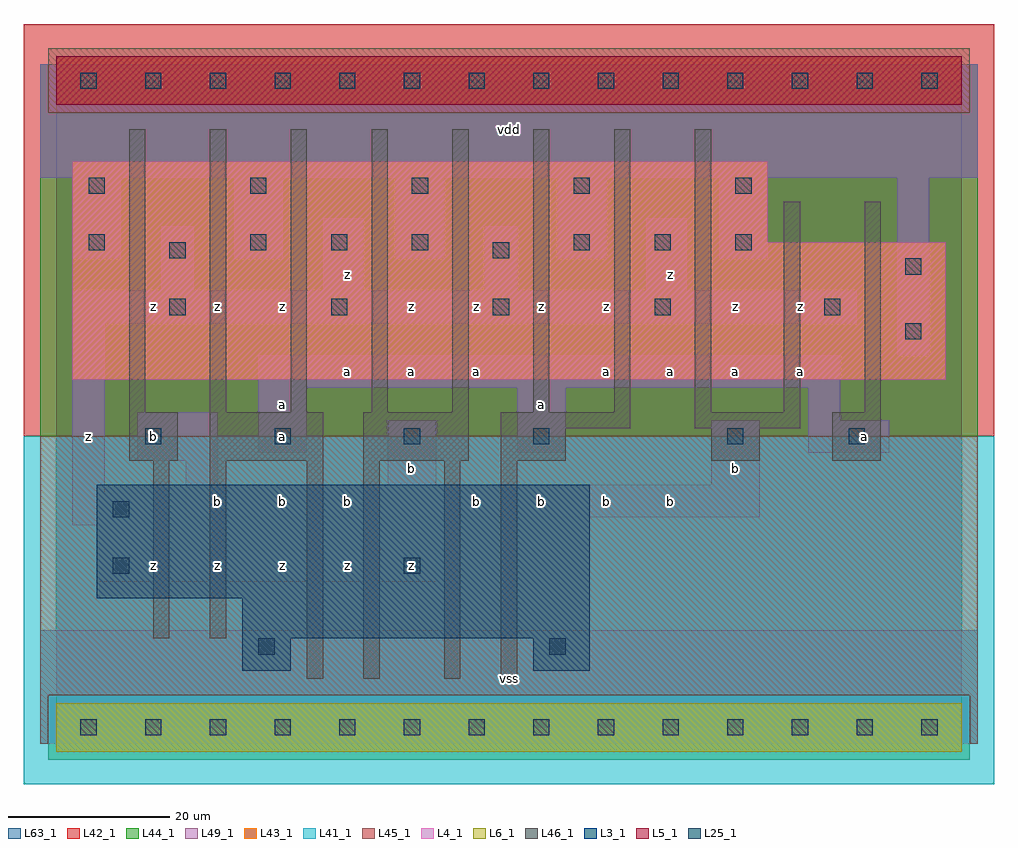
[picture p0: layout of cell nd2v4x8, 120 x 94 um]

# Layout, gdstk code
import gdstk
lib = gdstk.Library(unit=1e-6, precision=1e-09)
def R(c, l, rs):  # rectangles x0, y0, x1, y1
    for r in rs: c.add(gdstk.rectangle(r[:2], r[2:], *l))
def A(c, l, x, y, w, h, nx, ny, dx, dy):  # array of equal rectangles
    R(c, l, [(x+i*dx, y+j*dy, x+i*dx+w, y+j*dy+h) for i in range(nx) for j in range(ny)])
L3_1 = (3, 1)
L4_1 = (4, 1)
L5_1 = (5, 1)
L6_1 = (6, 1)
L25_1 = (25, 1)
L41_1 = (41, 1)
L42_1 = (42, 1)
L43_1 = (43, 1)
L44_1 = (44, 1)
L45_1 = (45, 1)
L46_1 = (46, 1)
L49_1 = (49, 1)
L63_1 = (63, 1)

nd2v4x8 = lib.new_cell('nd2v4x8')
R(nd2v4x8, L3_1, [(23,7,29,11), (59,7,66,11), (23,11,66,16), (5,16,66,30)])
R(nd2v4x8, L4_1, [(2,43,110,60), (2,60,88,70)])
R(nd2v4x8, L5_1, [(0,77,112,83)])
R(nd2v4x8, L6_1, [(0,-3,112,3), (0,-3,112,3)])
A(nd2v4x8, L25_1, 3, -1, 2, 2, 14, 2, 8, 80)
A(nd2v4x8, L25_1, 11, 35, 2, 2, 4, 1, 16, 0)
A(nd2v4x8, L25_1, 14, 51, 2, 2, 4, 1, 20, 0)
A(nd2v4x8, L25_1, 24, 59, 2, 2, 3, 1, 10, 0)
A(nd2v4x8, L25_1, 64, 59, 2, 2, 3, 1, 10, 0)
A(nd2v4x8, L25_1, 4, 66, 2, 2, 5, 1, 20, 0)
R(nd2v4x8, L25_1, [(25,9,27,11), (61,9,63,11), (7,19,9,21), (43,19,45,21), (7,26,9,28), (83,35,85,37), (98,35,100,37), (105,48,107,50), (95,51,97,53), (105,56,107,58), (14,58,16,60), (54,58,56,60), (4,59,6,61)])
R(nd2v4x8, L41_1, [(-4,-7,116,36)])
R(nd2v4x8, L42_1, [(-4,36,116,87)])
R(nd2v4x8, L43_1, [(0,-3,112,3), (23,7,29,11), (59,7,66,11), (23,11,66,16), (5,16,66,30), (2,43,110,60), (2,60,88,70), (0,77,112,83)])
R(nd2v4x8, L44_1, [(-1,-4,113,4), (-2,36,114,76), (-2,76,-1,82), (113,76,114,82)])
R(nd2v4x8, L45_1, [(-2,-2,-1,4), (113,-2,114,4), (-2,4,114,36), (-1,76,113,84)])
A(nd2v4x8, L46_1, 9, 39, 2, 35, 8, 1, 10, 0)
R(nd2v4x8, L46_1, [(31,6,33,33), (38,6,40,33), (48,6,50,33), (55,6,57,33), (12,11,14,33), (19,11,21,33), (9,33,15,39), (19,33,33,39), (38,33,51,39), (55,33,63,37), (81,33,87,37), (96,33,102,39), (55,37,71,39), (79,37,92,39), (90,39,92,65), (100,39,102,65)])
A(nd2v4x8, L49_1, 2, 58, 6, 10, 5, 1, 20, 0)
R(nd2v4x8, L49_1, [(-2,-2,114,12), (5,18,47,22), (5,22,11,25), (2,25,11,29), (16,26,87,30), (2,29,6,50), (16,30,20,33), (41,30,47,38), (81,30,87,38), (10,33,20,39), (25,34,31,42), (57,34,63,42), (93,34,103,38), (93,38,97,42), (25,42,97,46), (104,46,108,68), (2,50,99,54), (13,54,17,62), (33,54,38,63), (53,54,57,62), (73,54,78,63), (-2,68,114,82)])
R(nd2v4x8, L63_1, [(0,0,112,80)])
nd2v4x8.add(gdstk.Label('z', (12,20), layer=49, texttype=1))
nd2v4x8.add(gdstk.Label('b', (12,36), layer=49, texttype=1))
nd2v4x8.add(gdstk.Label('z', (4,36), layer=49, texttype=1))
nd2v4x8.add(gdstk.Label('z', (12,52), layer=49, texttype=1))
nd2v4x8.add(gdstk.Label('z', (20,20), layer=49, texttype=1))
nd2v4x8.add(gdstk.Label('b', (20,28), layer=49, texttype=1))
nd2v4x8.add(gdstk.Label('z', (28,20), layer=49, texttype=1))
nd2v4x8.add(gdstk.Label('b', (28,28), layer=49, texttype=1))
nd2v4x8.add(gdstk.Label('z', (36,20), layer=49, texttype=1))
nd2v4x8.add(gdstk.Label('b', (36,28), layer=49, texttype=1))
nd2v4x8.add(gdstk.Label('a', (28,36), layer=49, texttype=1))
nd2v4x8.add(gdstk.Label('a', (28,40), layer=49, texttype=1))
nd2v4x8.add(gdstk.Label('a', (36,44), layer=49, texttype=1))
nd2v4x8.add(gdstk.Label('z', (28,52), layer=49, texttype=1))
nd2v4x8.add(gdstk.Label('z', (20,52), layer=49, texttype=1))
nd2v4x8.add(gdstk.Label('z', (36,56), layer=49, texttype=1))
nd2v4x8.add(gdstk.Label('vss', (56,6), layer=49, texttype=1))
nd2v4x8.add(gdstk.Label('z', (44,20), layer=49, texttype=1))
nd2v4x8.add(gdstk.Label('b', (52,28), layer=49, texttype=1))
nd2v4x8.add(gdstk.Label('b', (60,28), layer=49, texttype=1))
nd2v4x8.add(gdstk.Label('b', (44,32), layer=49, texttype=1))
nd2v4x8.add(gdstk.Label('a', (44,44), layer=49, texttype=1))
nd2v4x8.add(gdstk.Label('a', (52,44), layer=49, texttype=1))
nd2v4x8.add(gdstk.Label('a', (60,40), layer=49, texttype=1))
nd2v4x8.add(gdstk.Label('z', (52,52), layer=49, texttype=1))
nd2v4x8.add(gdstk.Label('z', (60,52), layer=49, texttype=1))
nd2v4x8.add(gdstk.Label('z', (44,52), layer=49, texttype=1))
nd2v4x8.add(gdstk.Label('vdd', (56,74), layer=49, texttype=1))
nd2v4x8.add(gdstk.Label('b', (68,28), layer=49, texttype=1))
nd2v4x8.add(gdstk.Label('b', (76,28), layer=49, texttype=1))
nd2v4x8.add(gdstk.Label('b', (84,32), layer=49, texttype=1))
nd2v4x8.add(gdstk.Label('a', (68,44), layer=49, texttype=1))
nd2v4x8.add(gdstk.Label('a', (76,44), layer=49, texttype=1))
nd2v4x8.add(gdstk.Label('a', (84,44), layer=49, texttype=1))
nd2v4x8.add(gdstk.Label('z', (84,52), layer=49, texttype=1))
nd2v4x8.add(gdstk.Label('z', (68,52), layer=49, texttype=1))
nd2v4x8.add(gdstk.Label('z', (76,56), layer=49, texttype=1))
nd2v4x8.add(gdstk.Label('a', (92,44), layer=49, texttype=1))
nd2v4x8.add(gdstk.Label('a', (100,36), layer=49, texttype=1))
nd2v4x8.add(gdstk.Label('z', (92,52), layer=49, texttype=1))

lib.write_gds('nd2v4x8.gds')
